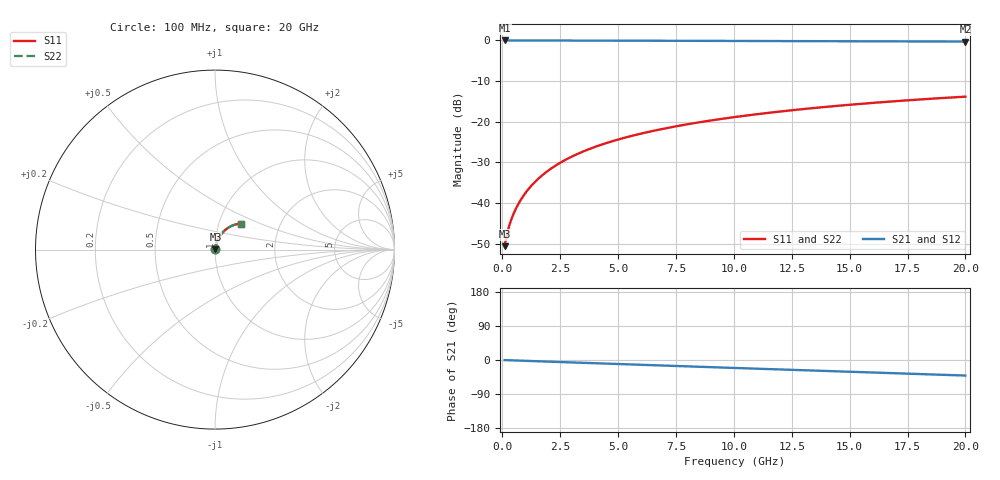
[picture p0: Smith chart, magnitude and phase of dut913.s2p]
! Touchstone file exported from HFSS 2026.1.0
!  File:  C:/ffzhzh/LocalFiles/Ansys_Project_Files/temp_train_BSMRDL_913_1783171603_55132.aedt
!  Generated:  09:27:55 PM Jul  4, 2026
!  Design:  BSMRDL
!  Project:  temp_train_BSMRDL_913_1783171603_55132
! Variables:
!  h_bsmrdl = 4.19um
!  h_ox = 20um
!  h_rdl = 5um
!  h_sub = 80um
!  h_tmrdl = 5um
!  h_tsv = 80um
!  h_via = 3um
!  l_bsmrdl = 686.41um
!  l_sub = 1086.41um
!  l_tmrdl = 200um
!  m_sub = 200um
!  pitch = 38.67um
!  r_tsv = 6um
!  s_tmrdl = 10um
!  w_bsmrdl = 26.48um
!  w_sub = 500um
!  w_tmrdl = 12um
!  x_tsv_center1 = 206um
!  x_tsv_center2 = 918.89um
!  x_tsv_center3 = 1130.89um
!  x_tsv_center4 = 1843.78um
!  x_tsv_center5 = 2055.78um
!  x_tsv_center6 = 2768.67um
# GHz S MA R 50.000000
! Terminal data exported
! Port[1] = BSM_RDL1_1_T1
! Port[2] = BSM_RDL1_1_T2
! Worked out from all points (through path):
!   200 points, 100 MHz to 20 GHz, reference 50 ohm
!   highest |S21| = -0.02 dB at 100 MHz (marker M1); lowest = -0.3 dB at 20 GHz (marker M2)
!   group delay of S21, straight-line fit = 5.68 ps
!   lowest |S11| = -50.6 dB at 100 MHz (marker M3), VSWR 1.01, Z = 50.2 + j0.162 ohm
!   |S11| at or under -10 dB: start of sweep to end of sweep
!   |S22| runs from -50.6 to -13.8 dB; largest |S21 - S12| = 1.9e-15
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0.1  0.00295 33.1  0.9975 -0.2  0.9975 -0.2  0.00295 33.1
! Gamma 0 0 0 0
! Port Impedance 50 0 50 0
0.2  0.004107 48.0  0.9973 -0.5  0.9973 -0.5  0.004107 47.9
0.3  0.005287 55.1  0.997 -0.7  0.997 -0.7  0.005285 55.1
0.4  0.006426 59.6  0.9968 -0.9  0.9968 -0.9  0.006423 59.6
0.5  0.00755 63.0  0.9967 -1.1  0.9967 -1.1  0.007547 63.0
0.6  0.008677 65.6  0.9966 -1.3  0.9966 -1.3  0.008674 65.6
0.8  0.01097 69.4  0.9965 -1.7  0.9965 -1.7  0.01096 69.4
1.1  0.01448 72.8  0.9963 -2.4  0.9963 -2.4  0.01448 72.8
1.3  0.01686 74.2  0.9962 -2.8  0.9962 -2.8  0.01686 74.2
1.6  0.02046 75.4  0.9959 -3.4  0.9959 -3.4  0.02046 75.5
2.1  0.02647 76.3  0.9955 -4.5  0.9955 -4.5  0.02647 76.3
2.7  0.03365 76.3  0.9949 -5.8  0.9949 -5.8  0.03365 76.4
3.5  0.04311 75.6  0.9939 -7.5  0.9939 -7.5  0.04311 75.6
4.2  0.05125 74.6  0.993 -9.0  0.993 -9.0  0.05125 74.6
5  0.06037 73.3  0.9918 -10.6  0.9918 -10.6  0.06037 73.3
5.9  0.07041 71.7  0.9905 -12.5  0.9905 -12.5  0.07041 71.8
6.8  0.08024 70.1  0.9891 -14.4  0.9891 -14.4  0.08024 70.2
8.3  0.0962 67.4  0.9867 -17.5  0.9867 -17.5  0.0962 67.4
10.1  0.1147 64.0  0.9837 -21.1  0.9837 -21.1  0.1147 64.1
13.4  0.1468 57.9  0.9781 -27.8  0.9781 -27.8  0.1468 57.9
16.7  0.1765 51.7  0.9721 -34.5  0.9721 -34.5  0.1765 51.7
20  0.2033 45.4  0.9661 -41.0  0.9661 -41.0  0.2033 45.5
